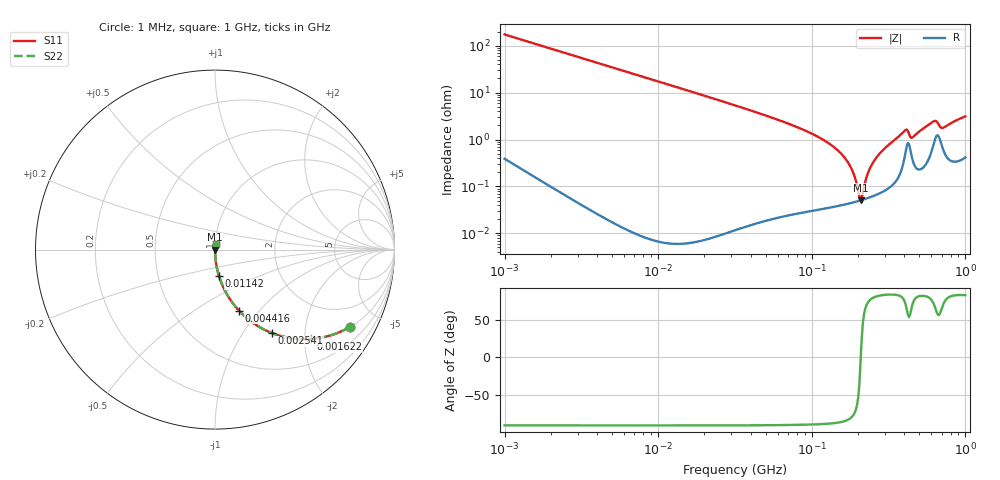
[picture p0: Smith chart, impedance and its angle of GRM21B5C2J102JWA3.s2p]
!Murata Part Number: GRM21B5C2J102JWA3
!These Parameters are Measured in Series Mode Connection
!Data Generated on Mar 30, 2021
!  o--ll--o
!Port1  Port2
!  o------o
!Operation Temp=25[degC], DC Bias Voltage=0[V]
!Freq. Start=1000[kHz] Stop=1000[MHz] 401[Steps]
# Hz S RI R 50
!Freq.(Hz) S11(Real) S11(Imag) S21(Real) S21(Imag) S12(Real) S12(Imag) S22(Real) S22(Imag)
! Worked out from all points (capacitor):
!   401 points, 1 MHz to 1 GHz, reference 50 ohm
!   read as one part in series: C = 918 pF near 1.035 MHz
!   lowest |Z| = 50.6 mohm at 207.7 MHz (marker M1)
!   series resonance near 208.3 MHz, so ESL is about 640 pH
!   S11 on the Smith chart (normalised r, x): 1 MHz: 1.01, -3.47; 1.622 MHz: 1.00, -2.14; 2.541 MHz: 1.00, -1.36; 4.416 MHz: 1.00, -0.79; 11.42 MHz: 1.00, -0.30; 1 GHz: 1.01, +0.06
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1000000  0.75 -0.4319  0.25 0.4319  0.25 0.4319  0.75 -0.4319
1621810  0.5334 -0.4982  0.4666 0.4982  0.4666 0.4982  0.5334 -0.4982
2540973  0.3179 -0.4652  0.6821 0.4652  0.6821 0.4652  0.3179 -0.4652
3180534  0.2293 -0.42  0.7707 0.42  0.7707 0.42  0.2293 -0.42
4415704  0.1337 -0.34  0.8663 0.34  0.8663 0.34  0.1337 -0.34
1.01158e7  0.0285 -0.1661  0.9715 0.1661  0.9715 0.1661  0.0285 -0.1661
1.141563e7  0.0225 -0.148  0.9775 0.148  0.9775 0.148  0.0225 -0.148
3.162278e7  0.00297 -0.0533  0.997 0.0533  0.997 0.0533  0.00297 -0.0533
1.005773e8  0.000475 -0.0132  0.9995 0.0132  0.9995 0.0132  0.000475 -0.0132
1.348963e8  0.000415 -0.00747  0.9996 0.00747  0.9996 0.00747  0.000415 -0.00747
1.631173e8  0.000427 -0.00413  0.9996 0.00413  0.9996 0.00413  0.000427 -0.00413
1.840772e8  0.000456 -0.00208  0.9995 0.00208  0.9995 0.00208  0.000456 -0.00208
2.077304e8  0.000504 -4.96e-05  0.9995 4.96e-05  0.9995 4.96e-05  0.000504 -4.96e-05
2.150305e8  0.000522 0.000534  0.9995 -0.000534  0.9995 -0.000534  0.000522 0.000534
2.304093e8  0.000564 0.00171  0.9994 -0.00171  0.9994 -0.00171  0.000564 0.00171
2.46888e8  0.000617 0.00291  0.9994 -0.00291  0.9994 -0.00291  0.000617 0.00291
3.198895e8  0.001 0.00787  0.999 -0.00787  0.999 -0.00787  0.001 0.00787
4.073803e8  0.00546 0.0149  0.9945 -0.0149  0.9945 -0.0149  0.00546 0.0149
4.518559e8  0.00388 0.0103  0.9961 -0.0103  0.9961 -0.0103  0.00388 0.0103
6.16595e8  0.00771 0.0227  0.9923 -0.0227  0.9923 -0.0227  0.00771 0.0227
7.202778e8  0.00607 0.0167  0.9939 -0.0167  0.9939 -0.0167  0.00607 0.0167
1e9  0.00509 0.0306  0.9949 -0.0306  0.9949 -0.0306  0.00509 0.0306
